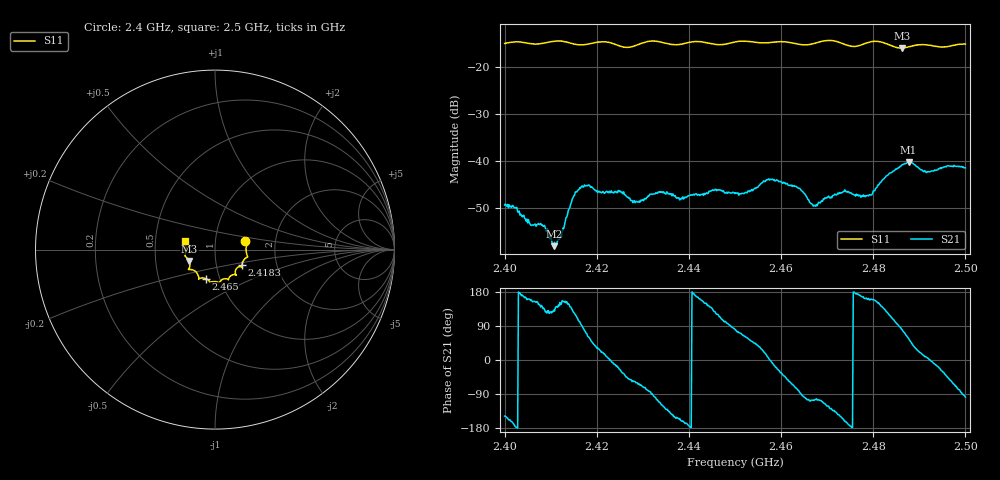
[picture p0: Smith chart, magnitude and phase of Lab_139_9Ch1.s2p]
# Hz S RI R 50
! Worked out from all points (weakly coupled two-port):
!   601 points, 2.4 GHz to 2.5 GHz, reference 50 ohm
!   highest |S21| = -40.21 dB at 2.4877 GHz (marker M1); lowest = -58.0 dB at 2.4107 GHz (marker M2)
!   lowest |S11| = -16.1 dB at 2.4862 GHz (marker M3), VSWR 1.37, Z = 37.2 - j4.83 ohm
!   |S11| at or under -10 dB: start of sweep to end of sweep
!   S12 and S22 are empty: the file has one direction only
!   S11 on the Smith chart (normalised r, x): 2.4 GHz: 1.40, +0.14; 2.4183 GHz: 1.33, -0.24; 2.465 GHz: 0.86, -0.28; 2.5 GHz: 0.71, +0.07
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2.4e9  0.1689 0.0471  -0.00291 -0.00181  0 0  0 0
2.405833e9  0.1734 0.0106  -0.00194 0.000769  0 0  0 0
2.408333e9  0.1755 -0.0196  -0.00146 0.00143  0 0  0 0
2.410667e9  0.1812 -0.0371  -0.000838 0.000938  0 0  0 0
2.412333e9  0.1814 -0.0412  -0.00133 0.000796  0 0  0 0
2.415e9  0.1652 -0.0518  -0.00247 0.0035  0 0  0 0
2.416667e9  0.1551 -0.0682  -0.000212 0.00535  0 0  0 0
2.418333e9  0.1503 -0.0873  0.00283 0.00481  0 0  0 0
2.428333e9  0.1131 -0.1216  0.00196 -0.00305  0 0  0 0
2.433333e9  0.1176 -0.141  -0.00148 -0.00446  0 0  0 0
2.4385e9  0.0802 -0.1532  -0.00379 -0.00124  0 0  0 0
2.45e9  0.0263 -0.1801  0.000732 0.00447  0 0  0 0
2.457667e9  -0.0149 -0.1789  0.00642 -0.000105  0 0  0 0
2.465e9  -0.0523 -0.1613  -0.000632 -0.00451  0 0  0 0
2.466667e9  -0.0713 -0.1575  -0.00097 -0.0034  0 0  0 0
2.473667e9  -0.0929 -0.1456  -0.00449 -0.00168  0 0  0 0
2.479333e9  -0.1444 -0.111  -0.00409 0.00157  0 0  0 0
2.483333e9  -0.1412 -0.0962  -0.00372 0.00619  0 0  0 0
2.486167e9  -0.1433 -0.0633  0.0014 0.00893  0 0  0 0
2.487667e9  -0.1537 -0.0492  0.00529 0.00821  0 0  0 0
2.491833e9  -0.1665 -0.0298  0.00773 0.000697  0 0  0 0
2.5e9  -0.1663 0.047  -0.00116 -0.0084  0 0  0 0
